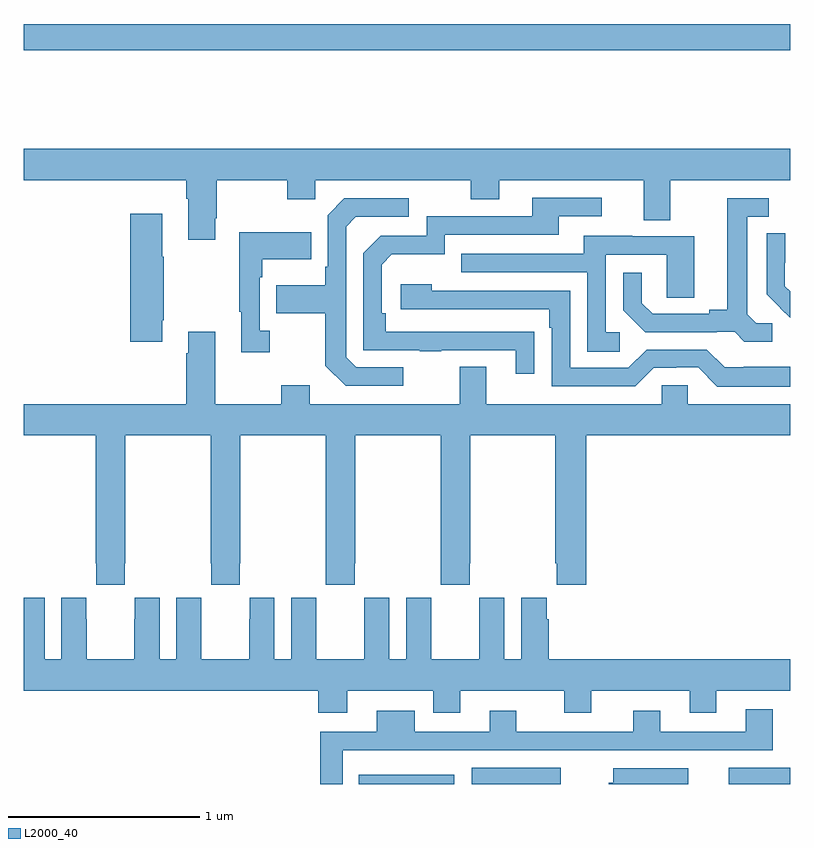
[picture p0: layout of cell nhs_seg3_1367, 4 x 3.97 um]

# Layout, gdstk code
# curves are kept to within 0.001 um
import gdstk
lib = gdstk.Library(unit=1e-6, precision=1e-09)
def R(c, l, rs):  # rectangles x0, y0, x1, y1
    for r in rs: c.add(gdstk.rectangle(r[:2], r[2:], *l))
def P(c, l, *ps):  # polygons
    for p in ps: c.add(gdstk.Polygon(p, *l))
L2000_40 = (2000, 40)

nhs_seg3_1367 = lib.new_cell('nhs_seg3_1367')
R(nhs_seg3_1367, L2000_40, [(183.338,728.4,183.802,728.485), (184.679,728.4,185,728.485), (181,732.232,185,732.368)])
P(nhs_seg3_1367, L2000_40, [(181.999,731.353),(182.007,731.353),(182.007,731.552),(182.374,731.552),(182.374,731.453),(182.52,731.453),(182.52,731.552),(183.334,731.552),(183.334,731.453),(183.481,731.453),(183.481,731.552),(184.235,731.552),(184.235,731.344),(184.375,731.344),(184.375,731.552),(185,731.552),(185,731.716),(181,731.716),(181,731.552),(181.847,731.552),(181.847,731.456),(181.859,731.456),(181.859,731.241),(181.999,731.241)],
  [(183.665,730.76),(182.888,730.761),(182.888,730.858),(182.868,730.858),(182.868,731.112),(182.921,731.165),(183.198,731.165),(183.198,731.268),(183.793,731.268),(183.793,731.364),(184.018,731.364),(184.018,731.46),(183.653,731.46),(183.653,731.364),(183.102,731.364),(183.102,731.262),(182.862,731.262),(182.772,731.172),(182.772,730.665),(183.067,730.665),(183.067,730.66),(183.179,730.66),(183.179,730.665),(183.569,730.665),(183.569,730.542),(183.665,730.542)],
  [(184.906,730.806),(184.824,730.806),(184.777,730.853),(184.777,731.361),(184.888,731.361),(184.888,731.457),(184.673,731.457),(184.673,730.877),(184.577,730.877),(184.577,730.854),(184.282,730.854),(184.225,730.911),(184.225,731.068),(184.128,731.068),(184.128,730.874),(184.244,730.758),(184.616,730.758),(184.616,730.761),(184.71,730.761),(184.762,730.709),(184.906,730.709)],
  [(182.98,730.575),(182.736,730.575),(182.682,730.629),(182.682,731.31),(182.733,731.361),(183.01,731.361),(183.01,731.457),(182.673,731.457),(182.586,731.37),(182.586,731.101),(182.574,731.101),(182.574,731.005),(182.317,731.005),(182.317,730.858),(182.574,730.858),(182.574,730.585),(182.679,730.479),(182.98,730.479)],
  [(181.723,730.822),(181.731,730.822),(181.731,731.153),(181.723,731.153),(181.723,731.377),(181.556,731.377),(181.556,730.71),(181.723,730.71)],
  [(182.284,730.766),(182.232,730.766),(182.232,731.045),(182.245,731.045),(182.245,731.141),(182.501,731.141),(182.501,731.281),(182.124,731.281),(182.124,730.865),(182.135,730.865),(182.135,730.653),(182.284,730.653)],
  [(185,730.973),(184.973,731),(184.973,731.122),(184.974,731.122),(184.974,731.276),(184.878,731.276),(184.878,730.958),(184.951,730.885),(184.95,730.884),(185,730.834)],
  [(184.111,730.758),(184.038,730.758),(184.038,731.163),(184.356,731.163),(184.356,730.939),(184.501,730.939),(184.501,731.259),(184.177,731.259),(184.177,731.263),(183.923,731.263),(183.923,731.169),(183.283,731.169),(183.283,731.073),(183.942,731.073),(183.942,730.657),(184.111,730.657)],
  [(185,730.579),(184.759,730.579),(184.759,730.575),(184.659,730.575),(184.566,730.668),(184.251,730.668),(184.155,730.572),(183.852,730.572),(183.852,730.974),(183.128,730.974),(183.128,731.008),(182.967,731.008),(182.967,730.878),(183.743,730.878),(183.743,730.781),(183.756,730.781),(183.756,730.476),(184.191,730.476),(184.287,730.572),(184.406,730.572),(184.406,730.575),(184.521,730.575),(184.621,730.475),(185,730.475)],
  [(181,730.22),(181.375,730.22),(181.375,729.553),(181.377,729.553),(181.377,729.441),(181.527,729.441),(181.527,729.553),(181.53,729.553),(181.53,730.22),(181.975,730.22),(181.975,729.553),(181.977,729.553),(181.977,729.441),(182.127,729.441),(182.127,729.553),(182.13,729.553),(182.13,730.22),(182.575,730.22),(182.575,729.553),(182.577,729.553),(182.577,729.441),(182.727,729.441),(182.727,729.553),(182.73,729.553),(182.73,730.22),(183.175,730.22),(183.175,729.553),(183.177,729.553),(183.177,729.441),(183.327,729.441),(183.327,729.553),(183.33,729.553),(183.33,730.22),(183.775,730.22),(183.775,729.553),(183.781,729.553),(183.781,729.441),(183.935,729.441),(183.935,730.22),(185,730.22),(185,730.384),(184.467,730.384),(184.467,730.482),(184.329,730.482),(184.329,730.384),(183.415,730.384),(183.415,730.579),(183.275,730.579),(183.275,730.384),(182.491,730.384),(182.491,730.483),(182.344,730.483),(182.344,730.384),(181.999,730.384),(181.999,730.762),(181.859,730.762),(181.859,730.649),(181.847,730.649),(181.847,730.384),(181,730.384)],
  [(182.689,728.888),(183.137,728.888),(183.137,728.771),(183.277,728.771),(183.277,728.888),(183.821,728.888),(183.821,728.771),(183.961,728.771),(183.961,728.888),(184.475,728.888),(184.475,728.771),(184.615,728.771),(184.615,728.888),(185,728.888),(185,729.052),(183.74,729.052),(183.74,729.26),(183.73,729.26),(183.73,729.373),(183.596,729.373),(183.596,729.052),(183.508,729.052),(183.508,729.373),(183.378,729.373),(183.378,729.26),(183.377,729.26),(183.377,729.052),(183.127,729.052),(183.127,729.26),(183.126,729.26),(183.126,729.373),(182.996,729.373),(182.996,729.052),(182.908,729.052),(182.908,729.373),(182.778,729.373),(182.778,729.26),(182.777,729.26),(182.777,729.052),(182.527,729.052),(182.527,729.26),(182.526,729.26),(182.526,729.373),(182.396,729.373),(182.396,729.052),(182.308,729.052),(182.308,729.373),(182.178,729.373),(182.178,729.26),(182.177,729.26),(182.177,729.052),(181.927,729.052),(181.927,729.26),(181.926,729.26),(181.926,729.373),(181.796,729.373),(181.796,729.052),(181.708,729.052),(181.708,729.373),(181.578,729.373),(181.578,729.26),(181.577,729.26),(181.577,729.052),(181.327,729.052),(181.327,729.26),(181.326,729.26),(181.326,729.373),(181.196,729.373),(181.196,729.052),(181.108,729.052),(181.108,729.373),(181,729.373),(181,728.888),(182.537,728.888),(182.537,728.771),(182.689,728.771)],
  [(182.664,728.577),(184.909,728.577),(184.909,728.791),(184.769,728.791),(184.769,728.673),(184.321,728.673),(184.321,728.782),(184.181,728.782),(184.181,728.673),(183.571,728.673),(183.571,728.782),(183.431,728.782),(183.431,728.673),(183.04,728.673),(183.04,728.782),(182.843,728.782),(182.843,728.673),(182.548,728.673),(182.548,728.4),(182.664,728.4)],
  [(184.468,728.482),(184.076,728.482),(184.076,728.406),(184.053,728.406),(184.053,728.4),(184.468,728.4)],
  [(183.247,728.448),(182.857,728.448),(182.857,728.447),(182.749,728.447),(182.749,728.4),(183.247,728.4)])

lib.write_gds('nhs_seg3_1367.gds')
